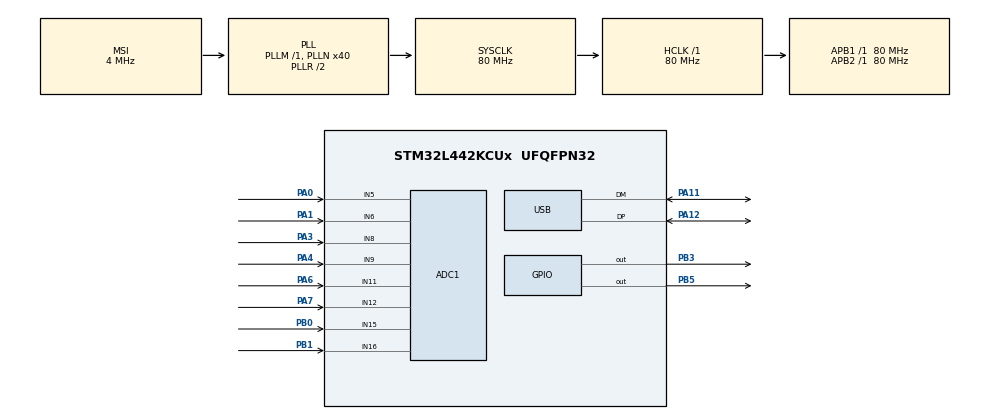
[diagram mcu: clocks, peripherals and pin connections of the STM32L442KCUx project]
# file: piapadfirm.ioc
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ADC1.Channel-0\#ChannelRegularConversion=ADC_CHANNEL_5
ADC1.NbrOfConversionFlag=1
ADC1.OffsetNumber-0\#ChannelRegularConversion=ADC_OFFSET_NONE
ADC1.Rank-0\#ChannelRegularConversion=1
ADC1.SamplingTime-0\#ChannelRegularConversion=ADC_SAMPLETIME_640CYCLES_5
ADC1.master=1
Mcu.Family=STM32L4
Mcu.Name=STM32L442KCUx
Mcu.Package=UFQFPN32
NVIC.PriorityGroup=NVIC_PRIORITYGROUP_4
PA0.Signal=ADCx_IN5
PA1.Signal=ADCx_IN6
PA11.Mode=Device
PA11.Signal=USB_DM
PA12.Mode=Device
PA12.Signal=USB_DP
PA3.Signal=ADCx_IN8
PA4.Signal=ADCx_IN9
PA6.Signal=ADCx_IN11
PA7.Signal=ADCx_IN12
PB0.Signal=ADCx_IN15
PB1.Signal=ADCx_IN16
PB3\ (JTDO-TRACESWO).Signal=GPIO_Output
PB5.Signal=GPIO_Output
ProjectManager.HeapSize=0x200
ProjectManager.StackSize=0x400
ProjectManager.TargetToolchain=EWARM V8.32
RCC.ADCFreq_Value=48000000
RCC.AHBFreq_Value=80000000
RCC.APB1Freq_Value=80000000
RCC.APB1TimFreq_Value=80000000
RCC.APB2Freq_Value=80000000
RCC.APB2TimFreq_Value=80000000
RCC.CortexFreq_Value=80000000
RCC.HCLKFreq_Value=80000000
RCC.HSE_VALUE=8000000
RCC.HSI48_VALUE=48000000
RCC.HSI_VALUE=16000000
RCC.LSE_VALUE=32768
RCC.MSI_VALUE=4000000
RCC.PLLN=40
RCC.PLLSAI1N=24
RCC.SYSCLKFreq_VALUE=80000000
RCC.SYSCLKSource=RCC_SYSCLKSOURCE_PLLCLK
RCC.USBFreq_Value=48000000
RCC.VCOOutputFreq_Value=160000000
SH.ADCx_IN11.0=ADC1_IN11,IN11-Single-Ended
SH.ADCx_IN12.0=ADC1_IN12,IN12-Single-Ended
SH.ADCx_IN15.0=ADC1_IN15,IN15-Single-Ended
SH.ADCx_IN16.0=ADC1_IN16,IN16-Single-Ended
SH.ADCx_IN5.0=ADC1_IN5,IN5-Single-Ended
SH.ADCx_IN6.0=ADC1_IN6,IN6-Single-Ended
SH.ADCx_IN8.0=ADC1_IN8,IN8-Single-Ended
SH.ADCx_IN9.0=ADC1_IN9,IN9-Single-Ended
board=custom

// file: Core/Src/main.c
/* USER CODE BEGIN Header */
/**
  ******************************************************************************
  * @file           : main.c
  * @brief          : Main program body
  ******************************************************************************
  * @attention
  *
  * Copyright (c) 2026 STMicroelectronics.
  * All rights reserved.
  *
  * This software is licensed under terms that can be found in the LICENSE file
  * in the root directory of this software component.
  * If no LICENSE file comes with this software, it is provided AS-IS.
  *
  ******************************************************************************
  */
/* USER CODE END Header */
#include "main.h"

ADC_HandleTypeDef hadc1;

PCD_HandleTypeDef hpcd_USB_FS;

void SystemClock_Config(void);
void PeriphCommonClock_Config(void);
static void MX_GPIO_Init(void);
static void MX_ADC1_Init(void);
static void MX_USB_PCD_Init(void);

int main(void)
{

  /* MCU Configuration--------------------------------------------------------*/

  /* Reset of all peripherals, Initializes the Flash interface and the Systick. */
  HAL_Init();

  /* Configure the system clock */
  SystemClock_Config();

  /* Configure the peripherals common clocks */
  PeriphCommonClock_Config();

  /* Initialize all configured peripherals */
  MX_GPIO_Init();
  MX_ADC1_Init();
  MX_USB_PCD_Init();
  /* USER CODE BEGIN 2 */
  Init_LED_PB3();
  /* USER CODE END 2 */

  /* Infinite loop */
/* USER CODE BEGIN WHILE */
uint32_t baseline = 0;
int calibrated = 0;
while (1)
{
  /* USER CODE END WHILE */

  /* USER CODE BEGIN 3 */
  uint32_t val = Sample_Pad_PA0(); /* sample PA0 (ADC_CHANNEL_5) */

  if (!calibrated) {
      /* take a single baseline sample on startup; you can average more if desired */
      baseline = val;
      calibrated = 1;
  }

  /* Example threshold — tune after measuring baseline */
  if (val > baseline + 200) {
      HAL_GPIO_WritePin(GPIOB, GPIO_PIN_5, GPIO_PIN_SET); /* PB5 on */
  } else {
      HAL_GPIO_WritePin(GPIOB, GPIO_PIN_5, GPIO_PIN_RESET); /* PB5 off */
  }

  HAL_Delay(20); /* frame delay; tune for responsiveness vs power */
}
/* USER CODE END 3 */
}
void SystemClock_Config(void)
{
  RCC_OscInitTypeDef RCC_OscInitStruct = {0};
  RCC_ClkInitTypeDef RCC_ClkInitStruct = {0};

  /** Configure the main internal regulator output voltage
  */
  if (HAL_PWREx_ControlVoltageScaling(PWR_REGULATOR_VOLTAGE_SCALE1) != HAL_OK)
  {
    Error_Handler();
  }

  /** Initializes the RCC Oscillators according to the specified parameters
  * in the RCC_OscInitTypeDef structure.
  */
  RCC_OscInitStruct.OscillatorType = RCC_OSCILLATORTYPE_MSI;
  RCC_OscInitStruct.MSIState = RCC_MSI_ON;
  RCC_OscInitStruct.MSICalibrationValue = 0;
  RCC_OscInitStruct.MSIClockRange = RCC_MSIRANGE_6;
  RCC_OscInitStruct.PLL.PLLState = RCC_PLL_ON;
  RCC_OscInitStruct.PLL.PLLSource = RCC_PLLSOURCE_MSI;
  RCC_OscInitStruct.PLL.PLLM = 1;
  RCC_OscInitStruct.PLL.PLLN = 40;
  RCC_OscInitStruct.PLL.PLLP = RCC_PLLP_DIV7;
  RCC_OscInitStruct.PLL.PLLQ = RCC_PLLQ_DIV2;
  RCC_OscInitStruct.PLL.PLLR = RCC_PLLR_DIV2;
  if (HAL_RCC_OscConfig(&RCC_OscInitStruct) != HAL_OK)
  {
    Error_Handler();
  }

  /** Initializes the CPU, AHB and APB buses clocks
  */
  RCC_ClkInitStruct.ClockType = RCC_CLOCKTYPE_HCLK|RCC_CLOCKTYPE_SYSCLK
                              |RCC_CLOCKTYPE_PCLK1|RCC_CLOCKTYPE_PCLK2;
  RCC_ClkInitStruct.SYSCLKSource = RCC_SYSCLKSOURCE_PLLCLK;
  RCC_ClkInitStruct.AHBCLKDivider = RCC_SYSCLK_DIV1;
  RCC_ClkInitStruct.APB1CLKDivider = RCC_HCLK_DIV1;
  RCC_ClkInitStruct.APB2CLKDivider = RCC_HCLK_DIV1;

  if (HAL_RCC_ClockConfig(&RCC_ClkInitStruct, FLASH_LATENCY_4) != HAL_OK)
  {
    Error_Handler();
  }
}

void PeriphCommonClock_Config(void)
{
  RCC_PeriphCLKInitTypeDef PeriphClkInit = {0};

  /** Initializes the peripherals clock
  */
  PeriphClkInit.PeriphClockSelection = RCC_PERIPHCLK_USB|RCC_PERIPHCLK_ADC;
  PeriphClkInit.AdcClockSelection = RCC_ADCCLKSOURCE_PLLSAI1;
  PeriphClkInit.UsbClockSelection = RCC_USBCLKSOURCE_PLLSAI1;
  PeriphClkInit.PLLSAI1.PLLSAI1Source = RCC_PLLSOURCE_MSI;
  PeriphClkInit.PLLSAI1.PLLSAI1M = 1;
  PeriphClkInit.PLLSAI1.PLLSAI1N = 24;
  PeriphClkInit.PLLSAI1.PLLSAI1P = RCC_PLLP_DIV7;
  PeriphClkInit.PLLSAI1.PLLSAI1Q = RCC_PLLQ_DIV2;
  PeriphClkInit.PLLSAI1.PLLSAI1R = RCC_PLLR_DIV2;
  PeriphClkInit.PLLSAI1.PLLSAI1ClockOut = RCC_PLLSAI1_48M2CLK|RCC_PLLSAI1_ADC1CLK;
  if (HAL_RCCEx_PeriphCLKConfig(&PeriphClkInit) != HAL_OK)
  {
    Error_Handler();
  }
}

static void MX_ADC1_Init(void)
{

  ADC_ChannelConfTypeDef sConfig = {0};

  /** Common config
  */
  hadc1.Instance = ADC1;
  hadc1.Init.ClockPrescaler = ADC_CLOCK_ASYNC_DIV1;
  hadc1.Init.Resolution = ADC_RESOLUTION_12B;
  hadc1.Init.DataAlign = ADC_DATAALIGN_RIGHT;
  hadc1.Init.ScanConvMode = ADC_SCAN_DISABLE;
  hadc1.Init.EOCSelection = ADC_EOC_SINGLE_CONV;
  hadc1.Init.LowPowerAutoWait = DISABLE;
  hadc1.Init.ContinuousConvMode = DISABLE;
  hadc1.Init.NbrOfConversion = 1;
  hadc1.Init.DiscontinuousConvMode = DISABLE;
  hadc1.Init.ExternalTrigConv = ADC_SOFTWARE_START;
  hadc1.Init.ExternalTrigConvEdge = ADC_EXTERNALTRIGCONVEDGE_NONE;
  hadc1.Init.DMAContinuousRequests = DISABLE;
  hadc1.Init.Overrun = ADC_OVR_DATA_PRESERVED;
  hadc1.Init.OversamplingMode = DISABLE;
  if (HAL_ADC_Init(&hadc1) != HAL_OK)
  {
    Error_Handler();
  }

  /** Configure Regular Channel
  */
  sConfig.Channel = ADC_CHANNEL_5;
  sConfig.Rank = ADC_REGULAR_RANK_1;
  sConfig.SamplingTime = ADC_SAMPLETIME_640CYCLES_5;
  sConfig.SingleDiff = ADC_SINGLE_ENDED;
  sConfig.OffsetNumber = ADC_OFFSET_NONE;
  sConfig.Offset = 0;
  if (HAL_ADC_ConfigChannel(&hadc1, &sConfig) != HAL_OK)
  {
    Error_Handler();
  }

}

static void MX_USB_PCD_Init(void)
{

  hpcd_USB_FS.Instance = USB;
  hpcd_USB_FS.Init.dev_endpoints = 8;
  hpcd_USB_FS.Init.speed = PCD_SPEED_FULL;
  hpcd_USB_FS.Init.phy_itface = PCD_PHY_EMBEDDED;
  hpcd_USB_FS.Init.Sof_enable = DISABLE;
  hpcd_USB_FS.Init.low_power_enable = DISABLE;
  hpcd_USB_FS.Init.lpm_enable = DISABLE;
  hpcd_USB_FS.Init.battery_charging_enable = DISABLE;
  if (HAL_PCD_Init(&hpcd_USB_FS) != HAL_OK)
  {
    Error_Handler();
  }

}

static void MX_GPIO_Init(void)
{
  GPIO_InitTypeDef GPIO_InitStruct = {0};

  /* GPIO Ports Clock Enable */
  __HAL_RCC_GPIOA_CLK_ENABLE();
  __HAL_RCC_GPIOB_CLK_ENABLE();

  /*Configure GPIO pin Output Level */
  HAL_GPIO_WritePin(GPIOB, GPIO_PIN_3|GPIO_PIN_5, GPIO_PIN_RESET);

  /*Configure GPIO pins : PB3 PB5 */
  GPIO_InitStruct.Pin = GPIO_PIN_3|GPIO_PIN_5;
  GPIO_InitStruct.Mode = GPIO_MODE_OUTPUT_PP;
  GPIO_InitStruct.Pull = GPIO_NOPULL;
  GPIO_InitStruct.Speed = GPIO_SPEED_FREQ_LOW;
  HAL_GPIO_Init(GPIOB, &GPIO_InitStruct);

}

/* USER CODE BEGIN 4 */
void Configure_ADC_Channel(uint32_t channel)
{
    ADC_ChannelConfTypeDef sConfig = {0};
    sConfig.Channel = channel;
    sConfig.Rank = ADC_REGULAR_RANK_1;
    sConfig.SamplingTime = ADC_SAMPLETIME_640CYCLES_5;
    sConfig.SingleDiff = ADC_SINGLE_ENDED;
    sConfig.OffsetNumber = ADC_OFFSET_NONE;
    sConfig.Offset = 0;
    if (HAL_ADC_ConfigChannel(&hadc1, &sConfig) != HAL_OK) { Error_Handler(); }
}
void Init_LED_PB3(void)
{
    GPIO_InitTypeDef GPIO_InitStruct = {0};
    __HAL_RCC_GPIOB_CLK_ENABLE();
    GPIO_InitStruct.Pin = GPIO_PIN_3;
    GPIO_InitStruct.Mode = GPIO_MODE_OUTPUT_PP;
    GPIO_InitStruct.Pull = GPIO_NOPULL;
    GPIO_InitStruct.Speed = GPIO_SPEED_FREQ_LOW;
    HAL_GPIO_Init(GPIOB, &GPIO_InitStruct);
    HAL_GPIO_WritePin(GPIOB, GPIO_PIN_3, GPIO_PIN_RESET);
}
uint32_t Sample_Pad_PA0(void)
{
    uint32_t adc_value = 0;
    Configure_ADC_Channel(ADC_CHANNEL_5);
    HAL_ADC_Start(&hadc1);
    if (HAL_ADC_PollForConversion(&hadc1, 10) == HAL_OK) {
        adc_value = HAL_ADC_GetValue(&hadc1);
    }
    HAL_ADC_Stop(&hadc1);
    return adc_value;
}
/* USER CODE END 4 */

void Error_Handler(void)
{
  __disable_irq();
  while (1)
  {
  }
}
